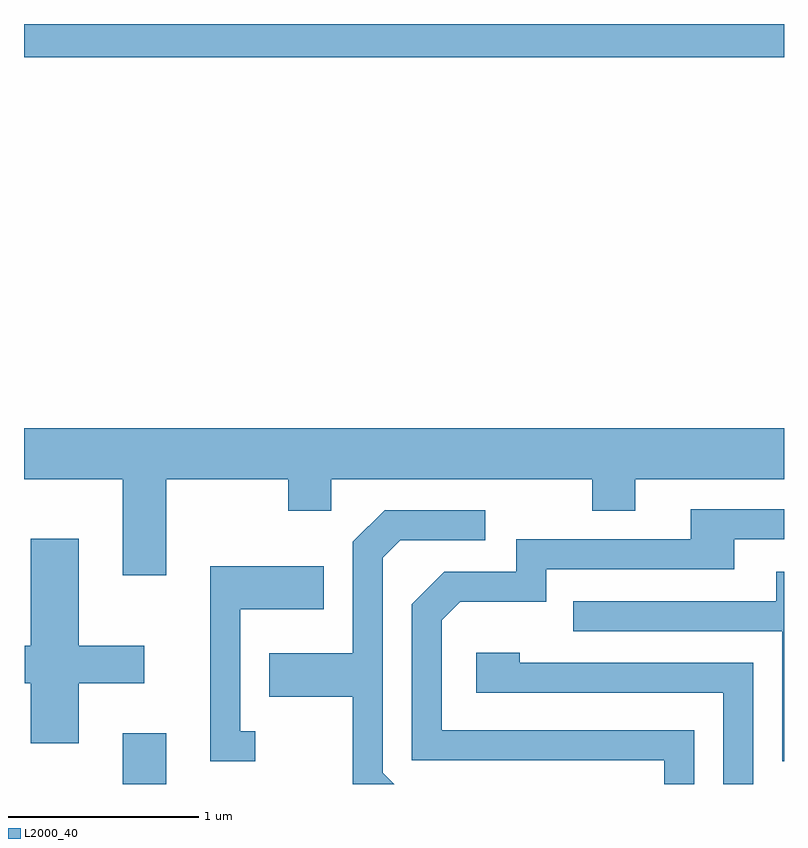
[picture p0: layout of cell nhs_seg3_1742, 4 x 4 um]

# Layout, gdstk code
import gdstk
lib = gdstk.Library(unit=1e-6, precision=1e-09)
def R(c, l, rs):  # rectangles x0, y0, x1, y1
    for r in rs: c.add(gdstk.rectangle(r[:2], r[2:], *l))
def P(c, l, *ps):  # polygons
    for p in ps: c.add(gdstk.Polygon(p, *l))
L2000_40 = (2000, 40)

nhs_seg3_1742 = lib.new_cell('nhs_seg3_1742')
R(nhs_seg3_1742, L2000_40, [(236.131,1199.892,236.359,1200.159), (235.611,1203.716,239.611,1203.892)])
P(nhs_seg3_1742, L2000_40, [(236.359,1201.496),(237.001,1201.496),(237.001,1201.331),(237.229,1201.331),(237.229,1201.496),(238.601,1201.496),(238.601,1201.331),(238.829,1201.331),(238.829,1201.496),(239.611,1201.496),(239.611,1201.764),(235.611,1201.764),(235.611,1201.496),(236.131,1201.496),(236.131,1200.991),(236.359,1200.991)],
  [(239.139,1200.174),(237.809,1200.174),(237.809,1200.754),(237.907,1200.851),(238.359,1200.851),(238.359,1201.021),(239.349,1201.021),(239.349,1201.181),(239.611,1201.181),(239.611,1201.339),(239.121,1201.339),(239.121,1201.179),(238.201,1201.179),(238.201,1201.009),(237.824,1201.009),(237.651,1200.837),(237.651,1200.016),(238.981,1200.016),(238.981,1199.892),(239.139,1199.892)],
  [(237.499,1199.952),(237.499,1201.084),(237.592,1201.176),(238.038,1201.176),(238.038,1201.334),(237.509,1201.334),(237.341,1201.167),(237.341,1200.579),(236.901,1200.579),(236.901,1200.351),(237.341,1200.351),(237.341,1199.892),(237.559,1199.892)],
  [(235.899,1200.421),(236.244,1200.421),(236.244,1200.619),(235.899,1200.619),(235.899,1201.184),(235.646,1201.184),(235.646,1200.619),(235.616,1200.619),(235.616,1200.421),(235.646,1200.421),(235.646,1200.106),(235.899,1200.106)],
  [(236.828,1200.169),(236.749,1200.169),(236.749,1200.811),(237.189,1200.811),(237.189,1201.039),(236.591,1201.039),(236.591,1200.011),(236.828,1200.011)],
  [(239.611,1201.009),(239.571,1201.009),(239.571,1200.854),(238.503,1200.854),(238.503,1200.696),(239.601,1200.696),(239.601,1200.011),(239.611,1200.011)],
  [(239.449,1200.529),(238.219,1200.529),(238.219,1200.584),(237.991,1200.584),(237.991,1200.371),(239.291,1200.371),(239.291,1199.892),(239.449,1199.892)])

lib.write_gds('nhs_seg3_1742.gds')
